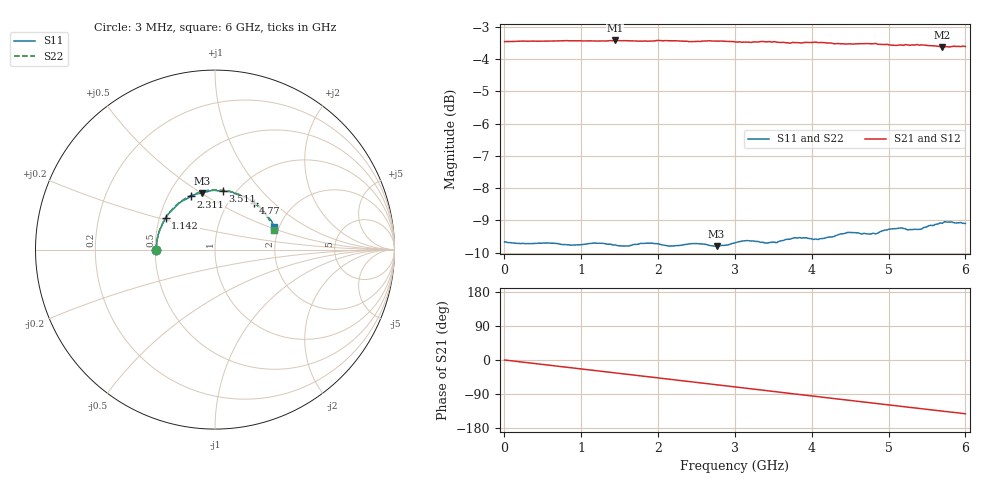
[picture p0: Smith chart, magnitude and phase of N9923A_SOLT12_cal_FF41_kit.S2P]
! C:\dev\gpib\tools\s2p\kirkby\071815\N9923A_SOLT12_cal_FF41_kit.S2P
!  Min freq: 3.000000E+006 Hz
!  Max freq: 6.000000E+009 Hz
!  Points: 201
!  Params: S11 S21 S12 S22
# GHZ S MA R 50
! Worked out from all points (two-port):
!   201 points, 3 MHz to 6 GHz, reference 50 ohm
!   highest |S21| = -3.42 dB at 1.442 GHz (marker M1); lowest = -3.6 dB at 5.7 GHz (marker M2)
!   |S21| within 3 dB of the highest: start of sweep to end of sweep
!   lowest |S11| = -9.8 dB at 2.761 GHz (marker M3), VSWR 1.96, Z = 35.9 + j25.4 ohm
!   |S11| at or under -10 dB: nowhere
!   |S22| runs from -9.7 to -9.1 dB; largest |S21 - S12| = 0.0023
!   S11 on the Smith chart (normalised r, x): 3 MHz: 0.51, +0.00; 1.142 GHz: 0.54, +0.21; 2.311 GHz: 0.65, +0.43; 3.511 GHz: 0.88, +0.64; 4.77 GHz: 1.29, +0.76; 6 GHz: 1.88, +0.53
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0.003  0.3288 180.0  0.6718 -0.1  0.6719 -0.1  0.3286 180.0
0.48184  0.3272 166.0  0.673 -11.3  0.6729 -11.3  0.3267 165.6
1.02166  0.3257 150.3  0.6733 -24.1  0.6735 -24.1  0.3272 149.5
1.14162  0.3272 147.2  0.6734 -26.9  0.6736 -26.9  0.3273 146.3
1.44152  0.3252 139.3  0.6746 -34.0  0.6742 -34.0  0.3273 137.9
1.77141  0.327 129.4  0.6731 -41.8  0.6732 -41.8  0.3287 128.2
2.01133  0.3263 123.5  0.6745 -47.5  0.6744 -47.5  0.329 121.8
2.31123  0.325 114.3  0.673 -54.7  0.6731 -54.7  0.3307 113.0
2.76108  0.3237 102.5  0.673 -65.3  0.673 -65.3  0.3313 101.1
3.03099  0.3284 94.5  0.6707 -71.8  0.6712 -71.8  0.3325 93.5
3.27091  0.3293 89.4  0.6711 -77.4  0.6711 -77.4  0.3316 87.8
3.51083  0.3284 82.2  0.6719 -83.2  0.6717 -83.2  0.3338 80.9
3.78074  0.3337 75.6  0.6693 -89.6  0.6693 -89.6  0.3345 74.1
4.02066  0.3316 69.9  0.6698 -95.2  0.6707 -95.3  0.3348 68.1
4.32056  0.3364 61.1  0.6669 -102.5  0.6674 -102.5  0.3385 59.8
4.53049  0.3399 56.7  0.6659 -107.4  0.6663 -107.4  0.3381 55.0
4.77041  0.3382 50.5  0.6666 -113.1  0.6672 -113.1  0.3391 48.9
5.01033  0.3441 44.0  0.6639 -118.7  0.6636 -118.8  0.3422 42.3
5.25025  0.3431 39.2  0.6638 -124.3  0.664 -124.4  0.3448 37.6
5.52016  0.348 31.3  0.6623 -130.9  0.6643 -130.9  0.345 29.5
5.7001  0.3513 27.3  0.659 -134.9  0.6607 -135.0  0.348 25.1
6  0.351 20.8  0.6601 -141.9  0.6611 -141.8  0.3486 18.4
